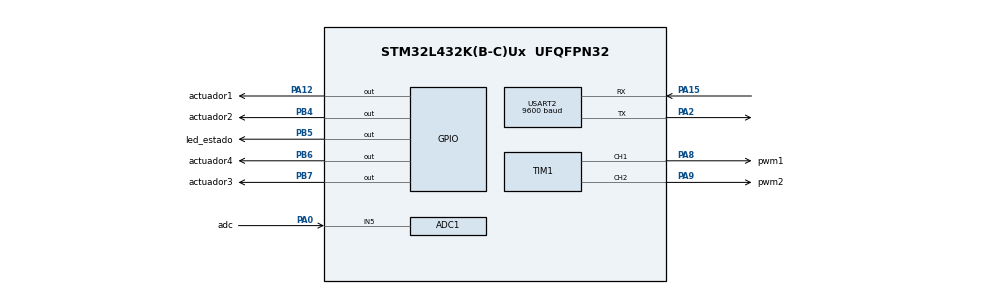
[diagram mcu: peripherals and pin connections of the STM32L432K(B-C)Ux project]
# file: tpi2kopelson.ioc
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ADC1.Channel-0\#ChannelRegularConversion=ADC_CHANNEL_5
ADC1.NbrOfConversionFlag=1
ADC1.OffsetNumber-0\#ChannelRegularConversion=ADC_OFFSET_NONE
ADC1.Rank-0\#ChannelRegularConversion=1
ADC1.SamplingTime-0\#ChannelRegularConversion=ADC_SAMPLETIME_2CYCLES_5
ADC1.master=1
Mcu.Family=STM32L4
Mcu.Name=STM32L432K(B-C)Ux
Mcu.Package=UFQFPN32
NVIC.PriorityGroup=NVIC_PRIORITYGROUP_4
PA0.GPIO_Label=adc
PA0.Signal=ADCx_IN5
PA12.GPIO_Label=actuador1
PA12.Signal=GPIO_Output
PA15\ (JTDI).Mode=Asynchronous
PA15\ (JTDI).Signal=USART2_RX
PA2.Mode=Asynchronous
PA2.Signal=USART2_TX
PA8.GPIO_Label=pwm1
PA8.Signal=S_TIM1_CH1
PA9.GPIO_Label=pwm2
PA9.Signal=S_TIM1_CH2
PB4\ (NJTRST).GPIO_Label=actuador2
PB4\ (NJTRST).Signal=GPIO_Output
PB5.GPIO_Label=led_estado
PB5.Signal=GPIO_Output
PB6.GPIO_Label=actuador4
PB6.Signal=GPIO_Output
PB7.GPIO_Label=actuador3
PB7.Signal=GPIO_Output
ProjectManager.HeapSize=0x200
ProjectManager.StackSize=0x400
ProjectManager.TargetToolchain=STM32CubeIDE
RCC.HSE_VALUE=8000000
RCC.HSI48_VALUE=48000000
RCC.HSI_VALUE=16000000
RCC.LSE_VALUE=32768
RCC.MSI_VALUE=4000000
RCC.VCOOutputFreq_Value=32000000
SH.ADCx_IN5.0=ADC1_IN5,IN5-Single-Ended
SH.S_TIM1_CH1.0=TIM1_CH1,PWM Generation1 CH1
SH.S_TIM1_CH2.0=TIM1_CH2,PWM Generation2 CH2
TIM1.Channel-PWM\ Generation1\ CH1=TIM_CHANNEL_1
TIM1.Channel-PWM\ Generation2\ CH2=TIM_CHANNEL_2
USART2.BaudRate=9600
USART2.VirtualMode-Asynchronous=VM_ASYNC
board=custom

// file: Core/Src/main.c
/* USER CODE BEGIN Header */
/**
  ******************************************************************************
  * @file           : main.c
  * @brief          : Main program body
  ******************************************************************************
  * @attention
  *
  * Copyright (c) 2025 STMicroelectronics.
  * All rights reserved.
  *
  * This software is licensed under terms that can be found in the LICENSE file
  * in the root directory of this software component.
  * If no LICENSE file comes with this software, it is provided AS-IS.
  *
  ******************************************************************************
  */
/* USER CODE END Header */
#include "main.h"

/* USER CODE BEGIN Includes */
#include <stdio.h>
#include <math.h>
#include <string.h>
#include <stdlib.h>
/* USER CODE END Includes */

/* USER CODE BEGIN PD */
#define VALIDACION 0
#define COMUNICACION 1
#define FIN 2
#define NADA 3
#define VALIDACION2 4
/* USER CODE END PD */

ADC_HandleTypeDef hadc1;

TIM_HandleTypeDef htim1;

UART_HandleTypeDef huart2;

void SystemClock_Config(void);
static void MX_GPIO_Init(void);
static void MX_ADC1_Init(void);
static void MX_TIM1_Init(void);
static void MX_USART2_UART_Init(void);

/* USER CODE BEGIN 0 */

//declaracion d funcioens
void configuracionPines();
void configuracionTIM1();
void enviarStringPorUART(const char* texto);
void esperarRecepcion(void);
void selectorDesicion (void);
void prenderLedComunicacion(void);
void limpiar(void);
void finalComunicacion(void);
void actualizar(void);

//variables globales

char buffer[64];
uint8_t ch;
int i = 0;

const char* etapas[] = { "validacion", "comunicacion" ,"fin", "nada" };
int etapa_actual = NADA;

/* USER CODE END 0 */

int main(void)
{

  /* MCU Configuration--------------------------------------------------------*/

  /* Reset of all peripherals, Initializes the Flash interface and the Systick. */
  HAL_Init();

  /* Configure the system clock */
  SystemClock_Config();

  /* Initialize all configured peripherals */
  MX_GPIO_Init();
  MX_ADC1_Init();
  MX_TIM1_Init();
  MX_USART2_UART_Init();
  /* USER CODE BEGIN 2 */

//para modularizar el codigo mejor, hice funciones de config inicial de pines y timer asi no queda tanto quilombo
  configuracionPines();
  configuracionTIM1();

  /* USER CODE END 2 */

  /* Infinite loop */
  while (1)
  {

	  esperarRecepcion();
	  selectorDesicion();

	  switch (etapa_actual)
	      {
	          case VALIDACION:
	              enviarStringPorUART("OK_DEV01_2025_v1.0\n");
	              limpiar();
	              break;

	          case VALIDACION2:
	              enviarStringPorUART("OK\n");
	              prenderLedComunicacion();
	              etapa_actual = COMUNICACION;
	              limpiar();
	              break;

	          case COMUNICACION:
	              actualizar();
	              limpiar();
	              break;

	          case FIN:
	              finalComunicacion();
	              limpiar();
	              break;

	          case NADA:
	              limpiar();
	              break;
	      }

  }
}

void SystemClock_Config(void)
{
  RCC_OscInitTypeDef RCC_OscInitStruct = {0};
  RCC_ClkInitTypeDef RCC_ClkInitStruct = {0};

  /** Configure the main internal regulator output voltage
  */
  if (HAL_PWREx_ControlVoltageScaling(PWR_REGULATOR_VOLTAGE_SCALE1) != HAL_OK)
  {
    Error_Handler();
  }

  /** Initializes the RCC Oscillators according to the specified parameters
  * in the RCC_OscInitTypeDef structure.
  */
  RCC_OscInitStruct.OscillatorType = RCC_OSCILLATORTYPE_MSI;
  RCC_OscInitStruct.MSIState = RCC_MSI_ON;
  RCC_OscInitStruct.MSICalibrationValue = 0;
  RCC_OscInitStruct.MSIClockRange = RCC_MSIRANGE_6;
  RCC_OscInitStruct.PLL.PLLState = RCC_PLL_NONE;
  if (HAL_RCC_OscConfig(&RCC_OscInitStruct) != HAL_OK)
  {
    Error_Handler();
  }

  /** Initializes the CPU, AHB and APB buses clocks
  */
  RCC_ClkInitStruct.ClockType = RCC_CLOCKTYPE_HCLK|RCC_CLOCKTYPE_SYSCLK
                              |RCC_CLOCKTYPE_PCLK1|RCC_CLOCKTYPE_PCLK2;
  RCC_ClkInitStruct.SYSCLKSource = RCC_SYSCLKSOURCE_MSI;
  RCC_ClkInitStruct.AHBCLKDivider = RCC_SYSCLK_DIV1;
  RCC_ClkInitStruct.APB1CLKDivider = RCC_HCLK_DIV1;
  RCC_ClkInitStruct.APB2CLKDivider = RCC_HCLK_DIV1;

  if (HAL_RCC_ClockConfig(&RCC_ClkInitStruct, FLASH_LATENCY_0) != HAL_OK)
  {
    Error_Handler();
  }
}

static void MX_ADC1_Init(void)
{

  ADC_ChannelConfTypeDef sConfig = {0};

  /** Common config
  */
  hadc1.Instance = ADC1;
  hadc1.Init.ClockPrescaler = ADC_CLOCK_ASYNC_DIV1;
  hadc1.Init.Resolution = ADC_RESOLUTION_12B;
  hadc1.Init.DataAlign = ADC_DATAALIGN_RIGHT;
  hadc1.Init.ScanConvMode = ADC_SCAN_DISABLE;
  hadc1.Init.EOCSelection = ADC_EOC_SINGLE_CONV;
  hadc1.Init.LowPowerAutoWait = DISABLE;
  hadc1.Init.ContinuousConvMode = DISABLE;
  hadc1.Init.NbrOfConversion = 1;
  hadc1.Init.DiscontinuousConvMode = DISABLE;
  hadc1.Init.ExternalTrigConv = ADC_SOFTWARE_START;
  hadc1.Init.ExternalTrigConvEdge = ADC_EXTERNALTRIGCONVEDGE_NONE;
  hadc1.Init.DMAContinuousRequests = DISABLE;
  hadc1.Init.Overrun = ADC_OVR_DATA_PRESERVED;
  hadc1.Init.OversamplingMode = DISABLE;
  if (HAL_ADC_Init(&hadc1) != HAL_OK)
  {
    Error_Handler();
  }

  /** Configure Regular Channel
  */
  sConfig.Channel = ADC_CHANNEL_5;
  sConfig.Rank = ADC_REGULAR_RANK_1;
  sConfig.SamplingTime = ADC_SAMPLETIME_2CYCLES_5;
  sConfig.SingleDiff = ADC_SINGLE_ENDED;
  sConfig.OffsetNumber = ADC_OFFSET_NONE;
  sConfig.Offset = 0;
  if (HAL_ADC_ConfigChannel(&hadc1, &sConfig) != HAL_OK)
  {
    Error_Handler();
  }

}

static void MX_TIM1_Init(void)
{

  TIM_MasterConfigTypeDef sMasterConfig = {0};
  TIM_OC_InitTypeDef sConfigOC = {0};
  TIM_BreakDeadTimeConfigTypeDef sBreakDeadTimeConfig = {0};

  htim1.Instance = TIM1;
  htim1.Init.Prescaler = 0;
  htim1.Init.CounterMode = TIM_COUNTERMODE_UP;
  htim1.Init.Period = 65535;
  htim1.Init.ClockDivision = TIM_CLOCKDIVISION_DIV1;
  htim1.Init.RepetitionCounter = 0;
  htim1.Init.AutoReloadPreload = TIM_AUTORELOAD_PRELOAD_DISABLE;
  if (HAL_TIM_PWM_Init(&htim1) != HAL_OK)
  {
    Error_Handler();
  }
  sMasterConfig.MasterOutputTrigger = TIM_TRGO_RESET;
  sMasterConfig.MasterOutputTrigger2 = TIM_TRGO2_RESET;
  sMasterConfig.MasterSlaveMode = TIM_MASTERSLAVEMODE_DISABLE;
  if (HAL_TIMEx_MasterConfigSynchronization(&htim1, &sMasterConfig) != HAL_OK)
  {
    Error_Handler();
  }
  sConfigOC.OCMode = TIM_OCMODE_PWM1;
  sConfigOC.Pulse = 0;
  sConfigOC.OCPolarity = TIM_OCPOLARITY_HIGH;
  sConfigOC.OCNPolarity = TIM_OCNPOLARITY_HIGH;
  sConfigOC.OCFastMode = TIM_OCFAST_DISABLE;
  sConfigOC.OCIdleState = TIM_OCIDLESTATE_RESET;
  sConfigOC.OCNIdleState = TIM_OCNIDLESTATE_RESET;
  if (HAL_TIM_PWM_ConfigChannel(&htim1, &sConfigOC, TIM_CHANNEL_1) != HAL_OK)
  {
    Error_Handler();
  }
  if (HAL_TIM_PWM_ConfigChannel(&htim1, &sConfigOC, TIM_CHANNEL_2) != HAL_OK)
  {
    Error_Handler();
  }
  sBreakDeadTimeConfig.OffStateRunMode = TIM_OSSR_DISABLE;
  sBreakDeadTimeConfig.OffStateIDLEMode = TIM_OSSI_DISABLE;
  sBreakDeadTimeConfig.LockLevel = TIM_LOCKLEVEL_OFF;
  sBreakDeadTimeConfig.DeadTime = 0;
  sBreakDeadTimeConfig.BreakState = TIM_BREAK_DISABLE;
  sBreakDeadTimeConfig.BreakPolarity = TIM_BREAKPOLARITY_HIGH;
  sBreakDeadTimeConfig.BreakFilter = 0;
  sBreakDeadTimeConfig.Break2State = TIM_BREAK2_DISABLE;
  sBreakDeadTimeConfig.Break2Polarity = TIM_BREAK2POLARITY_HIGH;
  sBreakDeadTimeConfig.Break2Filter = 0;
  sBreakDeadTimeConfig.AutomaticOutput = TIM_AUTOMATICOUTPUT_DISABLE;
  if (HAL_TIMEx_ConfigBreakDeadTime(&htim1, &sBreakDeadTimeConfig) != HAL_OK)
  {
    Error_Handler();
  }
  HAL_TIM_MspPostInit(&htim1);

}

static void MX_USART2_UART_Init(void)
{

  huart2.Instance = USART2;
  huart2.Init.BaudRate = 9600;
  huart2.Init.WordLength = UART_WORDLENGTH_8B;
  huart2.Init.StopBits = UART_STOPBITS_1;
  huart2.Init.Parity = UART_PARITY_NONE;
  huart2.Init.Mode = UART_MODE_TX_RX;
  huart2.Init.HwFlowCtl = UART_HWCONTROL_NONE;
  huart2.Init.OverSampling = UART_OVERSAMPLING_16;
  huart2.Init.OneBitSampling = UART_ONE_BIT_SAMPLE_DISABLE;
  huart2.AdvancedInit.AdvFeatureInit = UART_ADVFEATURE_NO_INIT;
  if (HAL_UART_Init(&huart2) != HAL_OK)
  {
    Error_Handler();
  }

}

static void MX_GPIO_Init(void)
{
  GPIO_InitTypeDef GPIO_InitStruct = {0};

  /* GPIO Ports Clock Enable */
  __HAL_RCC_GPIOA_CLK_ENABLE();
  __HAL_RCC_GPIOB_CLK_ENABLE();

  /*Configure GPIO pin Output Level */
  HAL_GPIO_WritePin(actuador1_GPIO_Port, actuador1_Pin, GPIO_PIN_RESET);

  /*Configure GPIO pin Output Level */
  HAL_GPIO_WritePin(GPIOB, actuador2_Pin|led_estado_Pin|actuador4_Pin|actuador3_Pin, GPIO_PIN_RESET);

  /*Configure GPIO pin : actuador1_Pin */
  GPIO_InitStruct.Pin = actuador1_Pin;
  GPIO_InitStruct.Mode = GPIO_MODE_OUTPUT_PP;
  GPIO_InitStruct.Pull = GPIO_NOPULL;
  GPIO_InitStruct.Speed = GPIO_SPEED_FREQ_LOW;
  HAL_GPIO_Init(actuador1_GPIO_Port, &GPIO_InitStruct);

  /*Configure GPIO pins : actuador2_Pin led_estado_Pin actuador4_Pin actuador3_Pin */
  GPIO_InitStruct.Pin = actuador2_Pin|led_estado_Pin|actuador4_Pin|actuador3_Pin;
  GPIO_InitStruct.Mode = GPIO_MODE_OUTPUT_PP;
  GPIO_InitStruct.Pull = GPIO_NOPULL;
  GPIO_InitStruct.Speed = GPIO_SPEED_FREQ_LOW;
  HAL_GPIO_Init(GPIOB, &GPIO_InitStruct);

}

/* USER CODE BEGIN 4 */
void configuracionPines(void) {

    // 1. Habilitar relojes para GPIOA y GPIOB
    RCC->AHB2ENR |= RCC_AHB2ENR_GPIOAEN | RCC_AHB2ENR_GPIOBEN;

    // --- Salidas digitales con pull-up ---
    // PA12 (Actuador1) -> output, pull-up
    GPIOA->MODER &= ~(3 << (12 * 2));
    GPIOA->MODER |=  (1 << (12 * 2));    // Output
    GPIOA->OTYPER &= ~(1 << 12);         // Push-pull
    GPIOA->PUPDR &= ~(3 << (12 * 2));
    GPIOA->PUPDR |=  (1 << (12 * 2));    // Pull-up

    // PB4, PB6, PB7 (Actuadores) + PB5 (LED Estado) -> output, pull-up
    GPIOB->MODER &= ~((3 << (4 * 2)) | (3 << (5 * 2)) | (3 << (6 * 2)) | (3 << (7 * 2)));
    GPIOB->MODER |=  ((1 << (4 * 2)) | (1 << (5 * 2)) | (1 << (6 * 2)) | (1 << (7 * 2))); // Output
    GPIOB->OTYPER &= ~((1 << 4) | (1 << 5) | (1 << 6) | (1 << 7)); // Push-pull
    GPIOB->PUPDR &= ~((3 << (4 * 2)) | (3 << (5 * 2)) | (3 << (6 * 2)) | (3 << (7 * 2)));
    GPIOB->PUPDR |=  ((1 << (4 * 2)) | (1 << (5 * 2)) | (1 << (6 * 2)) | (1 << (7 * 2))); // Pull-up

    // --- PWM: PA8 (TIM1_CH1), PA9 (TIM1_CH2) ---
    GPIOA->MODER &= ~((3 << (8 * 2)) | (3 << (9 * 2)));
    GPIOA->MODER |=  ((2 << (8 * 2)) | (2 << (9 * 2))); // Alternate Function
    GPIOA->AFR[1] &= ~((0xF << ((8 - 8) * 4)) | (0xF << ((9 - 8) * 4)));
    GPIOA->AFR[1] |=  ((1 << ((8 - 8) * 4)) | (1 << ((9 - 8) * 4))); // AF1 = TIM1
    GPIOA->OTYPER &= ~((1 << 8) | (1 << 9)); // Push-pull
    GPIOA->PUPDR &= ~((3 << (8 * 2)) | (3 << (9 * 2)));
    GPIOA->PUPDR |=  ((1 << (8 * 2)) | (1 << (9 * 2))); // Pull-up

    // --- Entrada ADC: PA0 ---
    GPIOA->MODER |= (3 << (0 * 2));  // Analog mode
    GPIOA->PUPDR &= ~(3 << (0 * 2)); // Sin pull-up ni pull-down

    // Salir del modo deep-power-down y habilitar el regulador
    ADC1->CR &= ~ADC_CR_DEEPPWD;
    ADC1->CR |=  ADC_CR_ADVREGEN;
    HAL_Delay(50); // Esperar a que se estabilice el regulador

    // Configurar resolución a 12 bits, alineación a derecha, modo single-shot
    ADC1->CFGR &= ~(ADC_CFGR_EXTEN | ADC_CFGR_RES | ADC_CFGR_ALIGN | ADC_CFGR_CONT);

    // Configurar tiempo de muestreo para canal 5 (PA0) — cuanto mayor, más preciso
    ADC1->SMPR1 &= ~(7 << ADC_SMPR1_SMP5_Pos);
    ADC1->SMPR1 |=  (3 << ADC_SMPR1_SMP5_Pos); // Por ej: 24.5 ciclos

    // Configurar secuencia de conversión: solo canal 5
    ADC1->SQR1 &= ~ADC_SQR1_L;
    ADC1->SQR1 &= ~ADC_SQR1_SQ1;
    ADC1->SQR1 |=  (5 << ADC_SQR1_SQ1_Pos);

    // Habilitar el ADC
    ADC1->CR |= ADC_CR_ADEN;

}

void configuracionTIM1(void) {

    RCC->APB2ENR |= RCC_APB2ENR_TIM1EN;

    //elegi 1khz en el tpi2 con estos valores. f_pwm = 4Mhz / 40*100 da 1khz

    TIM1->PSC = 39;
    TIM1->ARR = 99;
    TIM1->CCR1 = 0;      // duty canal1
    TIM1->CCR2 =  0;      // duty canal2

    TIM1->CCMR1 &= ~((7 << 4) | (7 << 12));
    TIM1->CCMR1 |= ((6 << 4) | (6 << 12)); // PWM mode 1 para CH1 y CH2
    TIM1->CCMR1 |= (1 << 3) | (1 << 11);   // Preload enable

    TIM1->CCER |= TIM_CCER_CC1E | TIM_CCER_CC2E; // Enable CH1 y CH2
    TIM1->BDTR |= TIM_BDTR_MOE;   // Main output enable
    TIM1->CR1 |= TIM_CR1_CEN;     // Enable counter
}

void esperarRecepcion(void) {

	//supongamos q la idea es recibir 'INV1'

	while (1) {
	    // Recibo de a 1 byte
	    HAL_UART_Receive(&huart2, &ch, 1, HAL_MAX_DELAY);
	    buffer[i++] = ch;

	    // Si llegó el fin de línea
	    if (ch == '\n') {
	        buffer[i - 1] = '\0'; // Reemplazo el '\n' con terminador de string
	        break; // Ya tengo el mensaje completo
	    }
	}

}

void selectorDesicion(void)
{
    uint32_t inicio = HAL_GetTick();

    while (1)
    {
        if ((strcmp(buffer, "INV1") == 0) && (etapa_actual == NADA))
        {
            etapa_actual = VALIDACION;
            break;
        }
        else if (strcmp(buffer, "RecibidoINV1") == 0 && etapa_actual == VALIDACION)
        {
            etapa_actual = VALIDACION2;
            break;
        }
        else if (strcmp(buffer, "FIN1") == 0)
        {
            etapa_actual = FIN;
            break;
        }
        else if (etapa_actual == COMUNICACION)
        {
            if (strcmp(buffer, "SALIDA1") == 0 ||
                strcmp(buffer, "SALIDA2") == 0 ||
                strcmp(buffer, "SALIDA3") == 0 ||
                strcmp(buffer, "SALIDA4") == 0 ||
                strncmp(buffer, "PWM1_", 5) == 0 ||
                strncmp(buffer, "PWM2_", 5) == 0 ||
				strncmp(buffer, "ADC_", 4) == 0
            	)
            {
                break;
            }
            else
            {
                limpiar();
                esperarRecepcion();
                continue;
            }
        }

        if (HAL_GetTick() - inicio > 60000)
        {
            etapa_actual = NADA;
            break;
        }

        limpiar();
        esperarRecepcion();
    }
}

void prenderLedComunicacion(void) {
    HAL_GPIO_WritePin(GPIOB, GPIO_PIN_5, GPIO_PIN_SET);
}

void limpiar(void) {
    memset(buffer, 0, sizeof(buffer));
    i = 0;
}
void enviarStringPorUART(const char* texto) {
    HAL_UART_Transmit(&huart2, (uint8_t*)texto, strlen(texto), HAL_MAX_DELAY);
}

void finalComunicacion(void){

	HAL_GPIO_WritePin(GPIOB, GPIO_PIN_5, GPIO_PIN_RESET);
	HAL_GPIO_WritePin(GPIOA, GPIO_PIN_12, GPIO_PIN_RESET);
	HAL_GPIO_WritePin(GPIOB, GPIO_PIN_4, GPIO_PIN_RESET);
	HAL_GPIO_WritePin(GPIOB, GPIO_PIN_7, GPIO_PIN_RESET);
	HAL_GPIO_WritePin(GPIOB, GPIO_PIN_6, GPIO_PIN_RESET);
	TIM1->CCR1 = 0;      // duty canal1
	TIM1->CCR2 =  0;      // duty canal2

	etapa_actual = NADA;
}

void actualizar(void)
{
    if (strncmp(buffer, "SALIDA", 6) == 0 && strlen(buffer) == 7)
    {
        switch (buffer[6])
        {
            case '1':
                HAL_GPIO_TogglePin(GPIOA, GPIO_PIN_12);
                enviarStringPorUART("OK_SALIDA_1\n");
                break;
            case '2':
                HAL_GPIO_TogglePin(GPIOB, GPIO_PIN_4);
                enviarStringPorUART("OK_SALIDA_2\n");
                break;
            case '3':
                HAL_GPIO_TogglePin(GPIOB, GPIO_PIN_7);
                enviarStringPorUART("OK_SALIDA_3\n");
                break;
            case '4':
                HAL_GPIO_TogglePin(GPIOB, GPIO_PIN_6);
                enviarStringPorUART("OK_SALIDA_4\n");
                break;
        }
    }
    else if (strncmp(buffer, "PWM1_", 5) == 0)
    {
        int duty = atoi(&buffer[5]);
        TIM1->CCR1 = duty;

        char respuesta[32];
        sprintf(respuesta, "OK_PWM1_%03d\n", duty);  // 3 dígitos con ceros a la izquierda
        enviarStringPorUART(respuesta);
    }
    else if (strncmp(buffer, "PWM2_", 5) == 0)
    {
        int duty = atoi(&buffer[5]);
        TIM1->CCR2 = duty;

        char respuesta[32];
        sprintf(respuesta, "OK_PWM2_%03d\n", duty);
        enviarStringPorUART(respuesta);
    }
    else if (strncmp(buffer, "ADC_1", 5) == 0)
    {
        // Iniciar conversión manualmente
        ADC1->CR |= ADC_CR_ADSTART;
        while (!(ADC1->ISR & ADC_ISR_EOC)) {} // Esperar fin de conversión
        uint16_t valor = ADC1->DR;

        char respuesta[32];
        sprintf(respuesta, "VALOR_ADC_%04u\n", valor);  // 0 a 4095
        enviarStringPorUART(respuesta);
    }

}

/* USER CODE END 4 */

void Error_Handler(void)
{
  __disable_irq();
  while (1)
  {
  }
}
